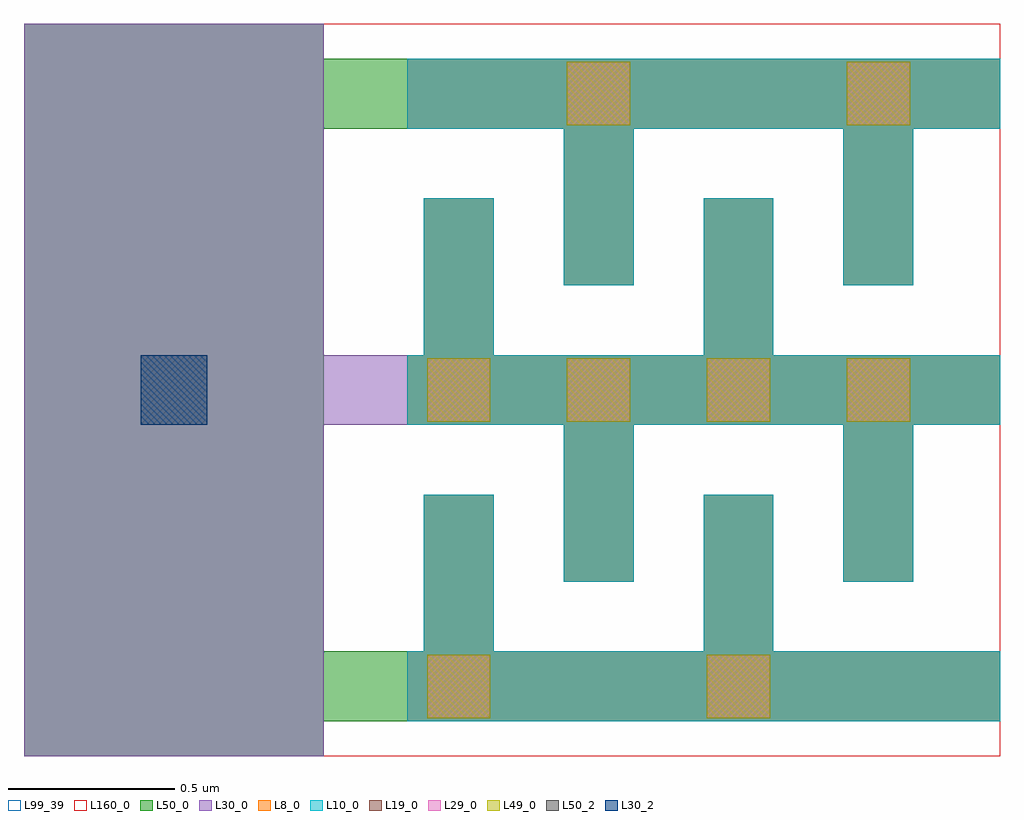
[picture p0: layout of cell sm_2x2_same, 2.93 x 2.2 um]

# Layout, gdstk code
import gdstk
lib = gdstk.Library(unit=1e-6, precision=1e-09)
def R(c, l, rs):  # rectangles x0, y0, x1, y1
    for r in rs: c.add(gdstk.rectangle(r[:2], r[2:], *l))
def A(c, l, x, y, w, h, nx, ny, dx, dy):  # array of equal rectangles
    R(c, l, [(x+i*dx, y+j*dy, x+i*dx+w, y+j*dy+h) for i in range(nx) for j in range(ny)])
L8_0 = (8, 0)
L10_0 = (10, 0)
L19_0 = (19, 0)
L29_0 = (29, 0)
L30_0 = (30, 0)
L30_2 = (30, 2)
L49_0 = (49, 0)
L50_0 = (50, 0)
L50_2 = (50, 2)
L99_39 = (99, 39)
L160_0 = (160, 0)

sm_2x2_same = lib.new_cell('sm_2x2_same')
A(sm_2x2_same, L8_0, -0.05, -0.105, 1.78, 0.21, 1, 3, 0, 0.89)
R(sm_2x2_same, L8_0, [(0,0,0.21,0.575), (0.84,0,1.05,0.575), (0.42,0.315,0.63,0.89), (1.26,0.315,1.47,0.89), (0,0.89,0.21,1.465), (0.84,0.89,1.05,1.465), (0.42,1.205,0.63,1.78), (1.26,1.205,1.47,1.78)])
A(sm_2x2_same, L10_0, -0.05, -0.105, 1.78, 0.21, 1, 3, 0, 0.89)
R(sm_2x2_same, L10_0, [(0,0,0.21,0.575), (0.84,0,1.05,0.575), (0.42,0.315,0.63,0.89), (1.26,0.315,1.47,0.89), (0,0.89,0.21,1.465), (0.84,0.89,1.05,1.465), (0.42,1.205,0.63,1.78), (1.26,1.205,1.47,1.78)])
A(sm_2x2_same, L19_0, 0.01, 0.795, 0.19, 0.19, 4, 1, 0.42, 0)
R(sm_2x2_same, L19_0, [(0.01,-0.095,0.2,0.095), (0.85,-0.095,1.04,0.095), (0.43,1.685,0.62,1.875), (1.27,1.685,1.46,1.875)])
A(sm_2x2_same, L29_0, 0.01, 0.795, 0.19, 0.19, 4, 1, 0.42, 0)
R(sm_2x2_same, L29_0, [(0.01,-0.095,0.2,0.095), (0.85,-0.095,1.04,0.095), (0.43,1.685,0.62,1.875), (1.27,1.685,1.46,1.875)])
R(sm_2x2_same, L30_0, [(-1.2,-0.21,-0.3,1.99), (-0.05,-0.105,1.73,0.105), (0,0,0.21,0.575), (0.84,0,1.05,0.575), (0.42,0.315,0.63,0.89), (1.26,0.315,1.47,0.89), (-1.2,0.785,1.73,0.995), (0,0.89,0.21,1.465), (0.84,0.89,1.05,1.465), (0.42,1.205,0.63,1.78), (1.26,1.205,1.47,1.78), (-0.05,1.675,1.73,1.885)])
R(sm_2x2_same, L30_2, [(-0.85,0.785,-0.65,0.995)])
A(sm_2x2_same, L49_0, 0.01, 0.795, 0.19, 0.19, 4, 1, 0.42, 0)
R(sm_2x2_same, L49_0, [(0.01,-0.095,0.2,0.095), (0.85,-0.095,1.04,0.095), (0.43,1.685,0.62,1.875), (1.27,1.685,1.46,1.875)])
R(sm_2x2_same, L50_0, [(-1.2,-0.21,-0.3,1.99), (-1.2,-0.105,1.73,0.105), (0,0,0.21,0.575), (0.84,0,1.05,0.575), (0.42,0.315,0.63,0.89), (1.26,0.315,1.47,0.89), (-0.05,0.785,1.73,0.995), (0,0.89,0.21,1.465), (0.84,0.89,1.05,1.465), (0.42,1.205,0.63,1.78), (1.26,1.205,1.47,1.78), (-1.2,1.675,1.73,1.885)])
R(sm_2x2_same, L50_2, [(-0.85,0.785,-0.65,0.995)])
R(sm_2x2_same, L99_39, [(-1.2,-0.21,1.73,1.99)])
R(sm_2x2_same, L160_0, [(-1.2,-0.21,1.73,1.99)])
sm_2x2_same.add(gdstk.Label('cap_cmomi C=3.588fF', (-1.2,-0.71), layer=63, texttype=0))

lib.write_gds('sm_2x2_same.gds')
